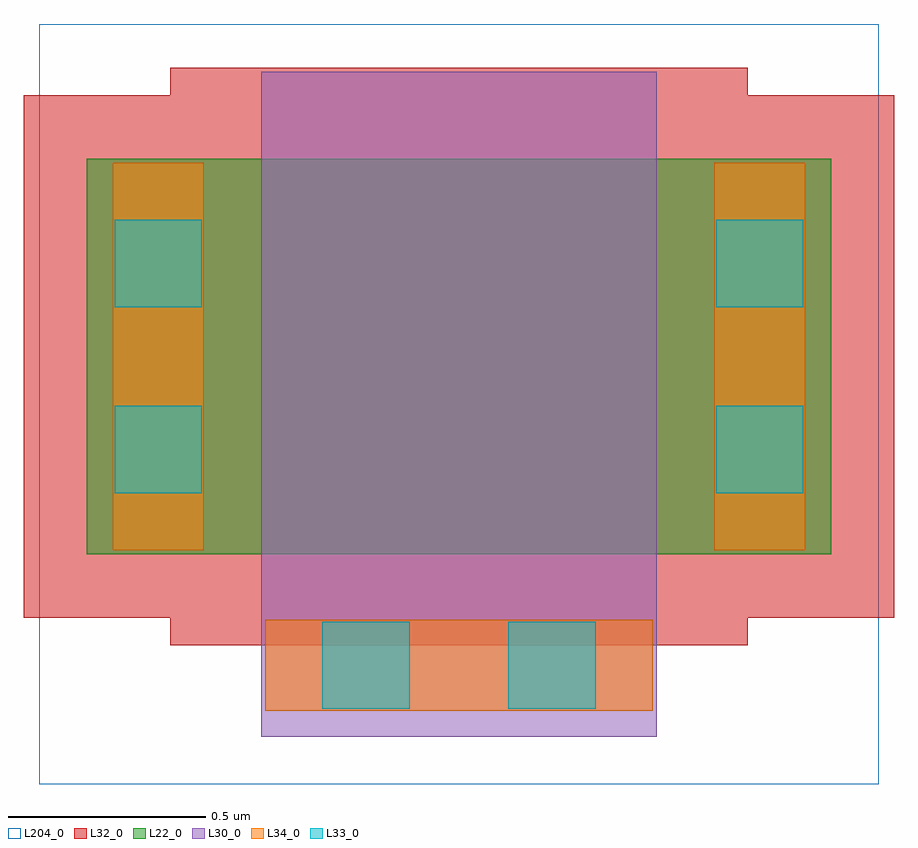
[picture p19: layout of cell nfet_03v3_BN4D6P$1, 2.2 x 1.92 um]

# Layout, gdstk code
import gdstk
lib = gdstk.Library(unit=1e-6, precision=1e-09)
def R(c, l, rs):  # rectangles x0, y0, x1, y1
    for r in rs: c.add(gdstk.rectangle(r[:2], r[2:], *l))
L22_0 = (22, 0)
L30_0 = (30, 0)
L32_0 = (32, 0)
L33_0 = (33, 0)
L34_0 = (34, 0)
L204_0 = (204, 0)

nfet_03v3_bn4d6p_1 = lib.new_cell('nfet_03v3_BN4D6P$1')
R(nfet_03v3_bn4d6p_1, L22_0, [(-0.94,-0.38,0.94,0.62)])
R(nfet_03v3_bn4d6p_1, L30_0, [(-0.5,-0.84,0.5,0.84)])
R(nfet_03v3_bn4d6p_1, L32_0, [(-0.73,-0.61,0.73,-0.54), (-1.1,-0.54,1.1,0.78), (-0.73,0.78,0.73,0.85)])
R(nfet_03v3_bn4d6p_1, L33_0, [(-0.345,-0.77,-0.125,-0.55), (0.125,-0.77,0.345,-0.55), (-0.87,-0.225,-0.65,-0.005), (0.65,-0.225,0.87,-0.005), (-0.87,0.245,-0.65,0.465), (0.65,0.245,0.87,0.465)])
R(nfet_03v3_bn4d6p_1, L34_0, [(-0.49,-0.775,0.49,-0.545), (-0.875,-0.37,-0.645,0.61), (0.645,-0.37,0.875,0.61)])
R(nfet_03v3_bn4d6p_1, L204_0, [(-1.06,-0.96,1.06,0.96)])

lib.write_gds('nfet_03v3_BN4D6P_1.gds')
